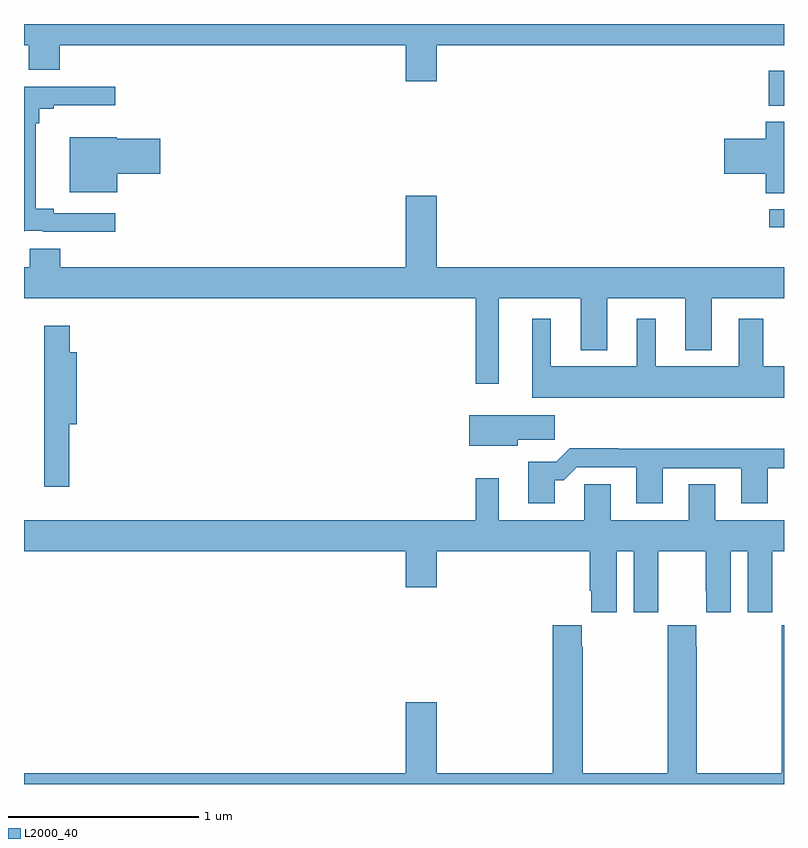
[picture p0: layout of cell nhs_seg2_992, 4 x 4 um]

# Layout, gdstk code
import gdstk
lib = gdstk.Library(unit=1e-6, precision=1e-09)
def R(c, l, rs):  # rectangles x0, y0, x1, y1
    for r in rs: c.add(gdstk.rectangle(r[:2], r[2:], *l))
def P(c, l, *ps):  # polygons
    for p in ps: c.add(gdstk.Polygon(p, *l))
L2000_40 = (2000, 40)

nhs_seg2_992 = lib.new_cell('nhs_seg2_992')
R(nhs_seg2_992, L2000_40, [(166.923,594.729,167,594.825), (166.919,595.371,167,595.555)])
P(nhs_seg2_992, L2000_40, [(165.172,595.688),(167,595.688),(167,595.8),(163,595.8),(163,595.688),(163.025,595.688),(163.025,595.56),(163.189,595.56),(163.189,595.688),(165.008,595.688),(165.008,595.5),(165.172,595.5)],
  [(163.005,594.711),(163.099,594.711),(163.099,594.707),(163.48,594.707),(163.48,594.804),(163.156,594.804),(163.156,594.827),(163.061,594.827),(163.061,595.277),(163.079,595.277),(163.079,595.354),(163.156,595.354),(163.156,595.373),(163.48,595.373),(163.48,595.47),(163,595.47),(163,594.706)],
  [(167,595.286),(166.904,595.286),(166.904,595.196),(166.686,595.196),(166.686,595.013),(166.904,595.013),(166.904,594.91),(167,594.91)],
  [(163.492,595.013),(163.717,595.013),(163.717,595.196),(163.488,595.196),(163.488,595.204),(163.241,595.204),(163.241,594.914),(163.492,594.914)],
  [(165.499,594.356),(165.929,594.356),(165.929,594.083),(166.069,594.083),(166.069,594.356),(166.481,594.356),(166.481,594.083),(166.621,594.083),(166.621,594.356),(167,594.356),(167,594.52),(165.172,594.52),(165.172,594.895),(165.008,594.895),(165.008,594.52),(163.19,594.52),(163.19,594.618),(163.03,594.618),(163.03,594.52),(163,594.52),(163,594.356),(165.378,594.356),(165.378,593.907),(165.499,593.907)],
  [(167,593.998),(166.891,593.998),(166.891,594.25),(166.763,594.25),(166.763,593.998),(166.324,593.998),(166.324,594.25),(166.226,594.25),(166.226,593.998),(165.772,593.998),(165.772,594.25),(165.674,594.25),(165.674,593.834),(167,593.834)],
  [(163.238,593.693),(163.277,593.693),(163.277,594.073),(163.241,594.073),(163.241,594.211),(163.106,594.211),(163.106,593.364),(163.238,593.364)],
  [(165.598,593.611),(165.793,593.611),(165.793,593.74),(165.344,593.74),(165.344,593.579),(165.598,593.579)],
  [(165.793,593.399),(165.842,593.399),(165.909,593.466),(166.223,593.466),(166.223,593.277),(166.363,593.277),(166.363,593.463),(166.775,593.463),(166.775,593.277),(166.915,593.277),(166.915,593.463),(167,593.463),(167,593.564),(166.127,593.564),(166.127,593.567),(165.872,593.567),(165.802,593.497),(165.653,593.497),(165.653,593.277),(165.793,593.277)],
  [(166.12,593.024),(166.208,593.024),(166.208,592.704),(166.338,592.704),(166.338,592.816),(166.339,592.816),(166.339,593.024),(166.589,593.024),(166.589,592.816),(166.59,592.816),(166.59,592.704),(166.72,592.704),(166.72,593.024),(166.808,593.024),(166.808,592.704),(166.938,592.704),(166.938,592.816),(166.939,592.816),(166.939,593.024),(167,593.024),(167,593.188),(166.639,593.188),(166.639,593.378),(166.499,593.378),(166.499,593.188),(166.087,593.188),(166.087,593.378),(165.948,593.378),(165.948,593.188),(165.499,593.188),(165.499,593.41),(165.378,593.41),(165.378,593.188),(163,593.188),(163,593.024),(165.008,593.024),(165.008,592.836),(165.172,592.836),(165.172,593.024),(165.977,593.024),(165.977,592.816),(165.986,592.816),(165.986,592.704),(166.12,592.704)],
  [(167,592.636),(166.989,592.636),(166.989,592.523),(166.987,592.523),(166.987,591.856),(166.542,591.856),(166.542,592.523),(166.539,592.523),(166.539,592.636),(166.389,592.636),(166.389,592.523),(166.387,592.523),(166.387,591.856),(165.942,591.856),(165.942,592.523),(165.935,592.523),(165.935,592.636),(165.782,592.636),(165.782,591.856),(165.172,591.856),(165.172,592.231),(165.008,592.231),(165.008,591.856),(163,591.856),(163,591.8),(167,591.8)])

lib.write_gds('nhs_seg2_992.gds')
